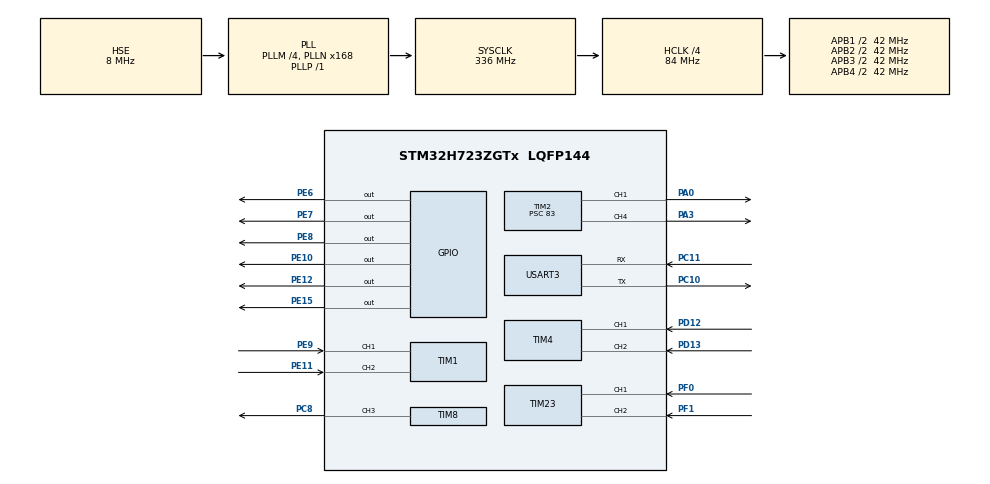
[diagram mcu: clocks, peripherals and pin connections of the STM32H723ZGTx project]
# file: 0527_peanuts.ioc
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Dma.Request0=USART3_RX
Dma.Request1=USART3_TX
Dma.USART3_RX.0.Direction=DMA_PERIPH_TO_MEMORY
Dma.USART3_RX.0.EventEnable=DISABLE
Dma.USART3_RX.0.FIFOMode=DMA_FIFOMODE_DISABLE
Dma.USART3_RX.0.Instance=DMA1_Stream0
Dma.USART3_RX.0.MemDataAlignment=DMA_MDATAALIGN_BYTE
Dma.USART3_RX.0.MemInc=DMA_MINC_ENABLE
Dma.USART3_RX.0.Mode=DMA_NORMAL
Dma.USART3_RX.0.PeriphDataAlignment=DMA_PDATAALIGN_BYTE
Dma.USART3_RX.0.PeriphInc=DMA_PINC_DISABLE
Dma.USART3_RX.0.Polarity=HAL_DMAMUX_REQ_GEN_RISING
Dma.USART3_RX.0.Priority=DMA_PRIORITY_HIGH
Dma.USART3_RX.0.RequestNumber=1
Dma.USART3_RX.0.SignalID=NONE
Dma.USART3_RX.0.SyncEnable=DISABLE
Dma.USART3_RX.0.SyncPolarity=HAL_DMAMUX_SYNC_NO_EVENT
Dma.USART3_RX.0.SyncRequestNumber=1
Dma.USART3_RX.0.SyncSignalID=NONE
Dma.USART3_TX.1.Direction=DMA_MEMORY_TO_PERIPH
Dma.USART3_TX.1.EventEnable=DISABLE
Dma.USART3_TX.1.FIFOMode=DMA_FIFOMODE_DISABLE
Dma.USART3_TX.1.Instance=DMA1_Stream1
Dma.USART3_TX.1.MemDataAlignment=DMA_MDATAALIGN_BYTE
Dma.USART3_TX.1.MemInc=DMA_MINC_ENABLE
Dma.USART3_TX.1.Mode=DMA_NORMAL
Dma.USART3_TX.1.PeriphDataAlignment=DMA_PDATAALIGN_BYTE
Dma.USART3_TX.1.PeriphInc=DMA_PINC_DISABLE
Dma.USART3_TX.1.Polarity=HAL_DMAMUX_REQ_GEN_RISING
Dma.USART3_TX.1.Priority=DMA_PRIORITY_HIGH
Dma.USART3_TX.1.RequestNumber=1
Dma.USART3_TX.1.SignalID=NONE
Dma.USART3_TX.1.SyncEnable=DISABLE
Dma.USART3_TX.1.SyncPolarity=HAL_DMAMUX_SYNC_NO_EVENT
Dma.USART3_TX.1.SyncRequestNumber=1
Dma.USART3_TX.1.SyncSignalID=NONE
Mcu.Family=STM32H7
Mcu.Name=STM32H723ZGTx
Mcu.Package=LQFP144
NVIC.DMA1_Stream0_IRQn=true\:0\:0\:false\:false\:true\:false\:true\:true
NVIC.DMA1_Stream1_IRQn=true\:0\:0\:false\:false\:true\:false\:true\:true
NVIC.PriorityGroup=NVIC_PRIORITYGROUP_4
NVIC.RCC_IRQn=true\:0\:0\:false\:false\:true\:true\:false\:true
NVIC.TIM3_IRQn=true\:0\:0\:false\:false\:true\:true\:true\:true
NVIC.TIM5_IRQn=true\:0\:0\:false\:false\:true\:true\:true\:true
NVIC.USART3_IRQn=true\:0\:0\:false\:false\:true\:true\:true\:true
PA0.Signal=S_TIM2_CH1_ETR
PA3.Signal=S_TIM2_CH4
PC10.Mode=Asynchronous
PC10.Signal=USART3_TX
PC11.Mode=Asynchronous
PC11.Signal=USART3_RX
PC14-OSC32_IN.Mode=LSE-External-Clock-Source
PC14-OSC32_IN.Signal=RCC_OSC32_IN
PC8.Signal=S_TIM8_CH3
PD12.Signal=S_TIM4_CH1
PD13.Signal=S_TIM4_CH2
PE10.Signal=GPIO_Output
PE11.Signal=S_TIM1_CH2
PE12.Signal=GPIO_Output
PE15.Signal=GPIO_Output
PE6.Signal=GPIO_Output
PE7.Signal=GPIO_Output
PE8.Signal=GPIO_Output
PE9.Signal=S_TIM1_CH1
PF0.Mode=Encoder_Interface
PF0.Signal=TIM23_CH1
PF1.Signal=S_TIM23_CH2
PH0-OSC_IN.Mode=HSE-External-Clock-Source
PH0-OSC_IN.Signal=RCC_OSC_IN
ProjectManager.HeapSize=0x200
ProjectManager.StackSize=0x400
ProjectManager.TargetToolchain=STM32CubeIDE
RCC.ADCFreq_Value=16125000
RCC.APB1Freq_Value=42000000
RCC.APB2Freq_Value=42000000
RCC.APB3Freq_Value=42000000
RCC.APB4Freq_Value=42000000
RCC.CortexFreq_Value=168000000
RCC.D1CPRE=RCC_SYSCLK_DIV2
RCC.D1PPRE=RCC_APB3_DIV2
RCC.D2PPRE1=RCC_APB1_DIV2
RCC.D2PPRE2=RCC_APB2_DIV2
RCC.D3PPRE=RCC_APB4_DIV2
RCC.DIVM1=4
RCC.DIVN1=168
RCC.DIVP1=1
RCC.HCLKFreq_Value=84000000
RCC.HPRE=RCC_HCLK_DIV2
RCC.HSE_VALUE=8000000
RCC.PLL2FRACN=0
RCC.PLL3FRACN=0
RCC.PLLFRACN=0
RCC.PLLSourceVirtual=RCC_PLLSOURCE_HSE
RCC.SYSCLKFreq_VALUE=336000000
RCC.SYSCLKSource=RCC_SYSCLKSOURCE_PLLCLK
RCC.USBFreq_Value=168000000
SH.S_TIM1_CH1.0=TIM1_CH1,Encoder_Interface
SH.S_TIM1_CH2.0=TIM1_CH2,Encoder_Interface
SH.S_TIM23_CH2.0=TIM23_CH2,Encoder_Interface
SH.S_TIM2_CH1_ETR.0=TIM2_CH1,PWM Generation1 CH1
SH.S_TIM2_CH4.0=TIM2_CH4,PWM Generation4 CH4
SH.S_TIM4_CH1.0=TIM4_CH1,Encoder_Interface
SH.S_TIM4_CH2.0=TIM4_CH2,Encoder_Interface
SH.S_TIM8_CH3.0=TIM8_CH3,PWM Generation3 CH3
TIM1.EncoderMode=TIM_ENCODERMODE_TI12
TIM2.Channel-PWM\ Generation1\ CH1=TIM_CHANNEL_1
TIM2.Channel-PWM\ Generation4\ CH4=TIM_CHANNEL_4
TIM2.Period=49
TIM2.Prescaler=83
TIM23.EncoderMode=TIM_ENCODERMODE_TI12
TIM3.Period=99
TIM3.Prescaler=839
TIM4.EncoderMode=TIM_ENCODERMODE_TI12
TIM5.Period=9999
TIM5.Prescaler=83
TIM8.Channel-PWM\ Generation3\ CH3=TIM_CHANNEL_3
TIM8.Period=49
TIM8.Prescaler=83
USART3.VirtualMode-Asynchronous=VM_ASYNC
VP_TIM3_VS_ClockSourceINT.Mode=Internal
VP_TIM5_VS_ClockSourceINT.Mode=Internal
board=custom

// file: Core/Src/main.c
/* USER CODE BEGIN Header */
/**
  ******************************************************************************
  * @file           : main.c
  * @brief          : Main program body
  ******************************************************************************
  * @attention
  *
  * Copyright (c) 2023 STMicroelectronics.
  * All rights reserved.
  *
  * This software is licensed under terms that can be found in the LICENSE file
  * in the root directory of this software component.
  * If no LICENSE file comes with this software, it is provided AS-IS.
  *
  ******************************************************************************
  */
/* USER CODE END Header */
#include "main.h"

/* USER CODE BEGIN Includes */
#include <mainpp.h>
#include <stdio.h>
#include <stdlib.h>
#include <math.h>
/* USER CODE END Includes */

/* USER CODE BEGIN PD */
//motor datasheet
#define resolution_MF 506
#define reductionratio_MF 13.2
#define resolution_ML 518
#define reductionratio_ML 13.2
#define resolution_MR 512
#define reductionratio_MR 20.8

//motor control
#define TIM_ENC_MF &htim1
#define TIM_ENC_ML &htim4
#define TIM_ENC_MR &htim23
#define TIM_PWM_MF &htim2
#define TIM_PWM_ML &htim2
#define TIM_PWM_MR &htim8
#define CH_PWM_MF TIM_CHANNEL_1
#define CH_PWM_ML TIM_CHANNEL_4
#define CH_PWM_MR TIM_CHANNEL_3
#define motor_span 0.001

//pin names
#define INA_MR_PORT GPIOE
#define INA_MR_PIN GPIO_PIN_8
#define INB_MR_PORT GPIOE
#define INB_MR_PIN GPIO_PIN_7
#define INA_ML_PORT GPIOE
#define INA_ML_PIN GPIO_PIN_10
#define INB_ML_PORT GPIOE
#define INB_ML_PIN GPIO_PIN_12
#define INA_MF_PORT GPIOE
#define INA_MF_PIN GPIO_PIN_6
#define INB_MF_PORT GPIOE
#define INB_MF_PIN GPIO_PIN_15

//motor PWM output
#define motorARR 49 //ARR of TIM2

//dynamics
#define pi 3.14159265359
#define degree60 pi/3
#define degree30 pi/6

#define ratio_motor2wheel 0.5 //motor 1 revolution wheel 32/20 revolution -> 20/40
#define LF 0.1
#define LR 0.1
#define LL 0.1
#define L 0.1
#define wheel_radius 0.03
/* USER CODE END PD */

TIM_HandleTypeDef htim1;
TIM_HandleTypeDef htim2;
TIM_HandleTypeDef htim3;
TIM_HandleTypeDef htim4;
TIM_HandleTypeDef htim5;
TIM_HandleTypeDef htim8;
TIM_HandleTypeDef htim23;

UART_HandleTypeDef huart3;
DMA_HandleTypeDef hdma_usart3_rx;
DMA_HandleTypeDef hdma_usart3_tx;

/* USER CODE BEGIN PV */
//alpha!!
double A=0, rA=0, Am, Wm;

//command speed (robot coordinate System)
//double Vx=0, Vy=0, W=0;
//command speed (motor)
double MF = 0, MR = 0, ML = 0;

//real speed (robot coordinate System)
//double rVx, rVy, rW;
//real speed (motor)
int16_t enc_MF, enc_MR, enc_ML;
double rMF, rMR, rML;

//PID_PWM
double err_MF, inte_MF = 0, PID_MF = 0;
double err_MR, inte_MR = 0, PID_MR = 0;
double err_ML, inte_ML = 0, PID_ML = 0;

const float kp_MR = 0.63478, ki_MR = 42.3571, kd_MR = 0;
const float kp_MF = 0.62054, ki_MF = 48.2085, kd_MF = 0;
const float kp_ML = 0.68042, ki_ML = 54.7149, kd_ML = 0;

//double cmnMF = 1;//.015;
//double cmnML = 1;//.015;
//double cmnMR = 1.007;
double cmnspeed = 1;

double Vx_cmd=0;
double Vy_cmd=0;
double W_cmd=0;
double ML_cmd=0;
double MR_cmd=0;
double MF_cmd=0;
int run = 0;
int straight_test_cnt = 0;

//double inte_w = 0;

/* USER CODE END PV */

void SystemClock_Config(void);
static void MX_GPIO_Init(void);
static void MX_DMA_Init(void);
static void MX_TIM3_Init(void);
static void MX_TIM4_Init(void);
static void MX_TIM8_Init(void);
static void MX_TIM23_Init(void);
static void MX_TIM1_Init(void);
static void MX_USART3_UART_Init(void);
static void MX_TIM2_Init(void);
static void MX_TIM5_Init(void);

int main(void)
{

  /* MCU Configuration--------------------------------------------------------*/

  /* Reset of all peripherals, Initializes the Flash interface and the Systick. */
  HAL_Init();

  /* Configure the system clock */
  SystemClock_Config();

  /* Initialize all configured peripherals */
  MX_GPIO_Init();
  MX_DMA_Init();
  MX_TIM3_Init();
  MX_TIM4_Init();
  MX_TIM8_Init();
  MX_TIM23_Init();
  MX_TIM1_Init();
  MX_USART3_UART_Init();
  MX_TIM2_Init();
  MX_TIM5_Init();
  /* USER CODE BEGIN 2 */
  HAL_TIM_Base_Start_IT(&htim3);
  HAL_TIM_Base_Start_IT(&htim5);
  HAL_TIM_Encoder_Start(TIM_ENC_MF, TIM_CHANNEL_1);
  HAL_TIM_Encoder_Start(TIM_ENC_MF, TIM_CHANNEL_2);
    HAL_TIM_Encoder_Start(TIM_ENC_ML, TIM_CHANNEL_1);
    HAL_TIM_Encoder_Start(TIM_ENC_ML, TIM_CHANNEL_2);
    HAL_TIM_Encoder_Start(TIM_ENC_MR, TIM_CHANNEL_1);
    HAL_TIM_Encoder_Start(TIM_ENC_MR, TIM_CHANNEL_2);
    HAL_TIM_PWM_Start(TIM_PWM_MF, CH_PWM_MF);
    HAL_TIM_PWM_Start(TIM_PWM_ML, CH_PWM_ML);
    HAL_TIM_PWM_Start(TIM_PWM_MR, CH_PWM_MR);
  	setup();
  	adjVx = 1.885714;
  	adjVy = 0.9637056234718826;
  	adjW = 3.922374063966527;
  	cmnMF = 1;
  	cmnML = 1;
  	cmnMR = 1.003;
  	//test rotate
//  	run = 1;
//  	straight_test_cnt = 20010;
//  	W_cmd = 0.628318530717958647692;
//  	inte_w = 0;
  /* USER CODE END 2 */

  /* Infinite loop */
  while (1)
  {

    /* USER CODE BEGIN 3 */
	  loop();
  }
  /* USER CODE END 3 */
}

void SystemClock_Config(void)
{
  RCC_OscInitTypeDef RCC_OscInitStruct = {0};
  RCC_ClkInitTypeDef RCC_ClkInitStruct = {0};

  /** Supply configuration update enable
  */
  HAL_PWREx_ConfigSupply(PWR_LDO_SUPPLY);

  /** Configure the main internal regulator output voltage
  */
  __HAL_PWR_VOLTAGESCALING_CONFIG(PWR_REGULATOR_VOLTAGE_SCALE3);

  while(!__HAL_PWR_GET_FLAG(PWR_FLAG_VOSRDY)) {}

  /** Initializes the RCC Oscillators according to the specified parameters
  * in the RCC_OscInitTypeDef structure.
  */
  RCC_OscInitStruct.OscillatorType = RCC_OSCILLATORTYPE_HSE;
  RCC_OscInitStruct.HSEState = RCC_HSE_BYPASS;
  RCC_OscInitStruct.PLL.PLLState = RCC_PLL_ON;
  RCC_OscInitStruct.PLL.PLLSource = RCC_PLLSOURCE_HSE;
  RCC_OscInitStruct.PLL.PLLM = 4;
  RCC_OscInitStruct.PLL.PLLN = 168;
  RCC_OscInitStruct.PLL.PLLP = 1;
  RCC_OscInitStruct.PLL.PLLQ = 2;
  RCC_OscInitStruct.PLL.PLLR = 2;
  RCC_OscInitStruct.PLL.PLLRGE = RCC_PLL1VCIRANGE_1;
  RCC_OscInitStruct.PLL.PLLVCOSEL = RCC_PLL1VCOWIDE;
  RCC_OscInitStruct.PLL.PLLFRACN = 0;
  if (HAL_RCC_OscConfig(&RCC_OscInitStruct) != HAL_OK)
  {
    Error_Handler();
  }

  /** Initializes the CPU, AHB and APB buses clocks
  */
  RCC_ClkInitStruct.ClockType = RCC_CLOCKTYPE_HCLK|RCC_CLOCKTYPE_SYSCLK
                              |RCC_CLOCKTYPE_PCLK1|RCC_CLOCKTYPE_PCLK2
                              |RCC_CLOCKTYPE_D3PCLK1|RCC_CLOCKTYPE_D1PCLK1;
  RCC_ClkInitStruct.SYSCLKSource = RCC_SYSCLKSOURCE_PLLCLK;
  RCC_ClkInitStruct.SYSCLKDivider = RCC_SYSCLK_DIV2;
  RCC_ClkInitStruct.AHBCLKDivider = RCC_HCLK_DIV2;
  RCC_ClkInitStruct.APB3CLKDivider = RCC_APB3_DIV2;
  RCC_ClkInitStruct.APB1CLKDivider = RCC_APB1_DIV2;
  RCC_ClkInitStruct.APB2CLKDivider = RCC_APB2_DIV2;
  RCC_ClkInitStruct.APB4CLKDivider = RCC_APB4_DIV2;

  if (HAL_RCC_ClockConfig(&RCC_ClkInitStruct, FLASH_LATENCY_2) != HAL_OK)
  {
    Error_Handler();
  }
}

static void MX_TIM1_Init(void)
{

  TIM_Encoder_InitTypeDef sConfig = {0};
  TIM_MasterConfigTypeDef sMasterConfig = {0};

  htim1.Instance = TIM1;
  htim1.Init.Prescaler = 0;
  htim1.Init.CounterMode = TIM_COUNTERMODE_UP;
  htim1.Init.Period = 65535;
  htim1.Init.ClockDivision = TIM_CLOCKDIVISION_DIV1;
  htim1.Init.RepetitionCounter = 0;
  htim1.Init.AutoReloadPreload = TIM_AUTORELOAD_PRELOAD_DISABLE;
  sConfig.EncoderMode = TIM_ENCODERMODE_TI12;
  sConfig.IC1Polarity = TIM_ICPOLARITY_RISING;
  sConfig.IC1Selection = TIM_ICSELECTION_DIRECTTI;
  sConfig.IC1Prescaler = TIM_ICPSC_DIV1;
  sConfig.IC1Filter = 0;
  sConfig.IC2Polarity = TIM_ICPOLARITY_RISING;
  sConfig.IC2Selection = TIM_ICSELECTION_DIRECTTI;
  sConfig.IC2Prescaler = TIM_ICPSC_DIV1;
  sConfig.IC2Filter = 0;
  if (HAL_TIM_Encoder_Init(&htim1, &sConfig) != HAL_OK)
  {
    Error_Handler();
  }
  sMasterConfig.MasterOutputTrigger = TIM_TRGO_RESET;
  sMasterConfig.MasterOutputTrigger2 = TIM_TRGO2_RESET;
  sMasterConfig.MasterSlaveMode = TIM_MASTERSLAVEMODE_DISABLE;
  if (HAL_TIMEx_MasterConfigSynchronization(&htim1, &sMasterConfig) != HAL_OK)
  {
    Error_Handler();
  }

}

static void MX_TIM2_Init(void)
{

  TIM_MasterConfigTypeDef sMasterConfig = {0};
  TIM_OC_InitTypeDef sConfigOC = {0};

  htim2.Instance = TIM2;
  htim2.Init.Prescaler = 83;
  htim2.Init.CounterMode = TIM_COUNTERMODE_UP;
  htim2.Init.Period = 49;
  htim2.Init.ClockDivision = TIM_CLOCKDIVISION_DIV1;
  htim2.Init.AutoReloadPreload = TIM_AUTORELOAD_PRELOAD_DISABLE;
  if (HAL_TIM_PWM_Init(&htim2) != HAL_OK)
  {
    Error_Handler();
  }
  sMasterConfig.MasterOutputTrigger = TIM_TRGO_RESET;
  sMasterConfig.MasterSlaveMode = TIM_MASTERSLAVEMODE_DISABLE;
  if (HAL_TIMEx_MasterConfigSynchronization(&htim2, &sMasterConfig) != HAL_OK)
  {
    Error_Handler();
  }
  sConfigOC.OCMode = TIM_OCMODE_PWM1;
  sConfigOC.Pulse = 0;
  sConfigOC.OCPolarity = TIM_OCPOLARITY_HIGH;
  sConfigOC.OCFastMode = TIM_OCFAST_DISABLE;
  if (HAL_TIM_PWM_ConfigChannel(&htim2, &sConfigOC, TIM_CHANNEL_1) != HAL_OK)
  {
    Error_Handler();
  }
  if (HAL_TIM_PWM_ConfigChannel(&htim2, &sConfigOC, TIM_CHANNEL_4) != HAL_OK)
  {
    Error_Handler();
  }
  HAL_TIM_MspPostInit(&htim2);

}

static void MX_TIM3_Init(void)
{

  TIM_ClockConfigTypeDef sClockSourceConfig = {0};
  TIM_MasterConfigTypeDef sMasterConfig = {0};

  htim3.Instance = TIM3;
  htim3.Init.Prescaler = 839;
  htim3.Init.CounterMode = TIM_COUNTERMODE_UP;
  htim3.Init.Period = 99;
  htim3.Init.ClockDivision = TIM_CLOCKDIVISION_DIV1;
  htim3.Init.AutoReloadPreload = TIM_AUTORELOAD_PRELOAD_DISABLE;
  if (HAL_TIM_Base_Init(&htim3) != HAL_OK)
  {
    Error_Handler();
  }
  sClockSourceConfig.ClockSource = TIM_CLOCKSOURCE_INTERNAL;
  if (HAL_TIM_ConfigClockSource(&htim3, &sClockSourceConfig) != HAL_OK)
  {
    Error_Handler();
  }
  sMasterConfig.MasterOutputTrigger = TIM_TRGO_RESET;
  sMasterConfig.MasterSlaveMode = TIM_MASTERSLAVEMODE_DISABLE;
  if (HAL_TIMEx_MasterConfigSynchronization(&htim3, &sMasterConfig) != HAL_OK)
  {
    Error_Handler();
  }

}

static void MX_TIM4_Init(void)
{

  TIM_Encoder_InitTypeDef sConfig = {0};
  TIM_MasterConfigTypeDef sMasterConfig = {0};

  htim4.Instance = TIM4;
  htim4.Init.Prescaler = 0;
  htim4.Init.CounterMode = TIM_COUNTERMODE_UP;
  htim4.Init.Period = 65535;
  htim4.Init.ClockDivision = TIM_CLOCKDIVISION_DIV1;
  htim4.Init.AutoReloadPreload = TIM_AUTORELOAD_PRELOAD_DISABLE;
  sConfig.EncoderMode = TIM_ENCODERMODE_TI12;
  sConfig.IC1Polarity = TIM_ICPOLARITY_RISING;
  sConfig.IC1Selection = TIM_ICSELECTION_DIRECTTI;
  sConfig.IC1Prescaler = TIM_ICPSC_DIV1;
  sConfig.IC1Filter = 0;
  sConfig.IC2Polarity = TIM_ICPOLARITY_RISING;
  sConfig.IC2Selection = TIM_ICSELECTION_DIRECTTI;
  sConfig.IC2Prescaler = TIM_ICPSC_DIV1;
  sConfig.IC2Filter = 0;
  if (HAL_TIM_Encoder_Init(&htim4, &sConfig) != HAL_OK)
  {
    Error_Handler();
  }
  sMasterConfig.MasterOutputTrigger = TIM_TRGO_RESET;
  sMasterConfig.MasterSlaveMode = TIM_MASTERSLAVEMODE_DISABLE;
  if (HAL_TIMEx_MasterConfigSynchronization(&htim4, &sMasterConfig) != HAL_OK)
  {
    Error_Handler();
  }

}

static void MX_TIM5_Init(void)
{

  TIM_ClockConfigTypeDef sClockSourceConfig = {0};
  TIM_MasterConfigTypeDef sMasterConfig = {0};

  htim5.Instance = TIM5;
  htim5.Init.Prescaler = 83;
  htim5.Init.CounterMode = TIM_COUNTERMODE_UP;
  htim5.Init.Period = 9999;
  htim5.Init.ClockDivision = TIM_CLOCKDIVISION_DIV1;
  htim5.Init.AutoReloadPreload = TIM_AUTORELOAD_PRELOAD_DISABLE;
  if (HAL_TIM_Base_Init(&htim5) != HAL_OK)
  {
    Error_Handler();
  }
  sClockSourceConfig.ClockSource = TIM_CLOCKSOURCE_INTERNAL;
  if (HAL_TIM_ConfigClockSource(&htim5, &sClockSourceConfig) != HAL_OK)
  {
    Error_Handler();
  }
  sMasterConfig.MasterOutputTrigger = TIM_TRGO_RESET;
  sMasterConfig.MasterSlaveMode = TIM_MASTERSLAVEMODE_DISABLE;
  if (HAL_TIMEx_MasterConfigSynchronization(&htim5, &sMasterConfig) != HAL_OK)
  {
    Error_Handler();
  }

}

static void MX_TIM8_Init(void)
{

  TIM_MasterConfigTypeDef sMasterConfig = {0};
  TIM_OC_InitTypeDef sConfigOC = {0};
  TIM_BreakDeadTimeConfigTypeDef sBreakDeadTimeConfig = {0};

  htim8.Instance = TIM8;
  htim8.Init.Prescaler = 83;
  htim8.Init.CounterMode = TIM_COUNTERMODE_UP;
  htim8.Init.Period = 49;
  htim8.Init.ClockDivision = TIM_CLOCKDIVISION_DIV1;
  htim8.Init.RepetitionCounter = 0;
  htim8.Init.AutoReloadPreload = TIM_AUTORELOAD_PRELOAD_DISABLE;
  if (HAL_TIM_PWM_Init(&htim8) != HAL_OK)
  {
    Error_Handler();
  }
  sMasterConfig.MasterOutputTrigger = TIM_TRGO_RESET;
  sMasterConfig.MasterOutputTrigger2 = TIM_TRGO2_RESET;
  sMasterConfig.MasterSlaveMode = TIM_MASTERSLAVEMODE_DISABLE;
  if (HAL_TIMEx_MasterConfigSynchronization(&htim8, &sMasterConfig) != HAL_OK)
  {
    Error_Handler();
  }
  sConfigOC.OCMode = TIM_OCMODE_PWM1;
  sConfigOC.Pulse = 0;
  sConfigOC.OCPolarity = TIM_OCPOLARITY_HIGH;
  sConfigOC.OCNPolarity = TIM_OCNPOLARITY_HIGH;
  sConfigOC.OCFastMode = TIM_OCFAST_DISABLE;
  sConfigOC.OCIdleState = TIM_OCIDLESTATE_RESET;
  sConfigOC.OCNIdleState = TIM_OCNIDLESTATE_RESET;
  if (HAL_TIM_PWM_ConfigChannel(&htim8, &sConfigOC, TIM_CHANNEL_3) != HAL_OK)
  {
    Error_Handler();
  }
  sBreakDeadTimeConfig.OffStateRunMode = TIM_OSSR_DISABLE;
  sBreakDeadTimeConfig.OffStateIDLEMode = TIM_OSSI_DISABLE;
  sBreakDeadTimeConfig.LockLevel = TIM_LOCKLEVEL_OFF;
  sBreakDeadTimeConfig.DeadTime = 0;
  sBreakDeadTimeConfig.BreakState = TIM_BREAK_DISABLE;
  sBreakDeadTimeConfig.BreakPolarity = TIM_BREAKPOLARITY_HIGH;
  sBreakDeadTimeConfig.BreakFilter = 0;
  sBreakDeadTimeConfig.Break2State = TIM_BREAK2_DISABLE;
  sBreakDeadTimeConfig.Break2Polarity = TIM_BREAK2POLARITY_HIGH;
  sBreakDeadTimeConfig.Break2Filter = 0;
  sBreakDeadTimeConfig.AutomaticOutput = TIM_AUTOMATICOUTPUT_DISABLE;
  if (HAL_TIMEx_ConfigBreakDeadTime(&htim8, &sBreakDeadTimeConfig) != HAL_OK)
  {
    Error_Handler();
  }
  HAL_TIM_MspPostInit(&htim8);

}

static void MX_TIM23_Init(void)
{

  TIM_Encoder_InitTypeDef sConfig = {0};
  TIM_MasterConfigTypeDef sMasterConfig = {0};

  htim23.Instance = TIM23;
  htim23.Init.Prescaler = 0;
  htim23.Init.CounterMode = TIM_COUNTERMODE_UP;
  htim23.Init.Period = 4294967295;
  htim23.Init.ClockDivision = TIM_CLOCKDIVISION_DIV1;
  htim23.Init.AutoReloadPreload = TIM_AUTORELOAD_PRELOAD_DISABLE;
  sConfig.EncoderMode = TIM_ENCODERMODE_TI12;
  sConfig.IC1Polarity = TIM_ICPOLARITY_RISING;
  sConfig.IC1Selection = TIM_ICSELECTION_DIRECTTI;
  sConfig.IC1Prescaler = TIM_ICPSC_DIV1;
  sConfig.IC1Filter = 0;
  sConfig.IC2Polarity = TIM_ICPOLARITY_RISING;
  sConfig.IC2Selection = TIM_ICSELECTION_DIRECTTI;
  sConfig.IC2Prescaler = TIM_ICPSC_DIV1;
  sConfig.IC2Filter = 0;
  if (HAL_TIM_Encoder_Init(&htim23, &sConfig) != HAL_OK)
  {
    Error_Handler();
  }
  sMasterConfig.MasterOutputTrigger = TIM_TRGO_RESET;
  sMasterConfig.MasterSlaveMode = TIM_MASTERSLAVEMODE_DISABLE;
  if (HAL_TIMEx_MasterConfigSynchronization(&htim23, &sMasterConfig) != HAL_OK)
  {
    Error_Handler();
  }

}

static void MX_USART3_UART_Init(void)
{

  huart3.Instance = USART3;
  huart3.Init.BaudRate = 115200;
  huart3.Init.WordLength = UART_WORDLENGTH_8B;
  huart3.Init.StopBits = UART_STOPBITS_1;
  huart3.Init.Parity = UART_PARITY_NONE;
  huart3.Init.Mode = UART_MODE_TX_RX;
  huart3.Init.HwFlowCtl = UART_HWCONTROL_NONE;
  huart3.Init.OverSampling = UART_OVERSAMPLING_16;
  huart3.Init.OneBitSampling = UART_ONE_BIT_SAMPLE_DISABLE;
  huart3.Init.ClockPrescaler = UART_PRESCALER_DIV1;
  huart3.AdvancedInit.AdvFeatureInit = UART_ADVFEATURE_NO_INIT;
  if (HAL_UART_Init(&huart3) != HAL_OK)
  {
    Error_Handler();
  }
  if (HAL_UARTEx_SetTxFifoThreshold(&huart3, UART_TXFIFO_THRESHOLD_1_8) != HAL_OK)
  {
    Error_Handler();
  }
  if (HAL_UARTEx_SetRxFifoThreshold(&huart3, UART_RXFIFO_THRESHOLD_1_8) != HAL_OK)
  {
    Error_Handler();
  }
  if (HAL_UARTEx_DisableFifoMode(&huart3) != HAL_OK)
  {
    Error_Handler();
  }

}

static void MX_DMA_Init(void)
{

  /* DMA controller clock enable */
  __HAL_RCC_DMA1_CLK_ENABLE();

  /* DMA interrupt init */
  /* DMA1_Stream0_IRQn interrupt configuration */
  HAL_NVIC_SetPriority(DMA1_Stream0_IRQn, 0, 0);
  HAL_NVIC_EnableIRQ(DMA1_Stream0_IRQn);
  /* DMA1_Stream1_IRQn interrupt configuration */
  HAL_NVIC_SetPriority(DMA1_Stream1_IRQn, 0, 0);
  HAL_NVIC_EnableIRQ(DMA1_Stream1_IRQn);

}

static void MX_GPIO_Init(void)
{
  GPIO_InitTypeDef GPIO_InitStruct = {0};

  /* GPIO Ports Clock Enable */
  __HAL_RCC_GPIOE_CLK_ENABLE();
  __HAL_RCC_GPIOC_CLK_ENABLE();
  __HAL_RCC_GPIOF_CLK_ENABLE();
  __HAL_RCC_GPIOH_CLK_ENABLE();
  __HAL_RCC_GPIOA_CLK_ENABLE();
  __HAL_RCC_GPIOD_CLK_ENABLE();

  /*Configure GPIO pin Output Level */
  HAL_GPIO_WritePin(GPIOE, GPIO_PIN_6|GPIO_PIN_7|GPIO_PIN_8|GPIO_PIN_10
                          |GPIO_PIN_12|GPIO_PIN_15, GPIO_PIN_RESET);

  /*Configure GPIO pins : PE6 PE7 PE8 PE10
                           PE12 PE15 */
  GPIO_InitStruct.Pin = GPIO_PIN_6|GPIO_PIN_7|GPIO_PIN_8|GPIO_PIN_10
                          |GPIO_PIN_12|GPIO_PIN_15;
  GPIO_InitStruct.Mode = GPIO_MODE_OUTPUT_PP;
  GPIO_InitStruct.Pull = GPIO_NOPULL;
  GPIO_InitStruct.Speed = GPIO_SPEED_FREQ_LOW;
  HAL_GPIO_Init(GPIOE, &GPIO_InitStruct);

}

/* USER CODE BEGIN 4 */
void inverse_kinematics_model();
void Encoder();
void PID_PWM();
void kinematics_model();

double WF, WR, WL;
int into_tim3=0;
int into_tim5=0;
int into_PID=0;

void HAL_TIM_PeriodElapsedCallback(TIM_HandleTypeDef *htim){
	if(htim->Instance == TIM3){

		if (straight_test_cnt > 20000 && run == 1) {
			Vx = 0;
			Vy = 0;
			W = 0;
			straight_test_cnt--;
		} else if (straight_test_cnt > 0 && run == 1) {
			Vx = Vx_cmd;
			Vy = Vy_cmd;
			W = W_cmd;
			straight_test_cnt--;
//			inte_w = inte_w + rW*motor_span;
		} else if (straight_test_cnt == 0) {
			Vx = 0;
			Vy = 0;
			W = 0;
			run = 0;
			straight_test_cnt = 10000;
		}

//		if (straight_test_cnt > 0 && run == 1) {
//			Vx = Vx_cmd;
//			Vy = Vy_cmd;
//			W = W_cmd;
//			straight_test_cnt--;
//		} else if (straight_test_cnt == 0) {
//			Vx = 0;
//			Vy = 0;
//			W = 0;
//			run = 0;
//			straight_test_cnt = 10000;
//		}

//		if (straight_test_cnt > 0 && run == 1) {
//			MF = MF_cmd*cmnMF;
//			ML = ML_cmd*cmnML;
//			MR = MR_cmd*cmnMR;
//			straight_test_cnt--;
//		} else if (straight_test_cnt == 0) {
//			ML = 0;
//			MR = 0;
//			MF = 0;
//			run = 0;
//			straight_test_cnt = 10000;
//		}

		inverse_kinematics_model();
		Encoder();
		PID_PWM();
		kinematics_model();
		into_tim3++;
	}
	else if(htim->Instance == TIM5){
		//rVx = 1;
		//rVy = 1;
		//rW = 1;
		realspeed();
		into_tim5++;
	}
}

//double adjVx=2*0.942857, adjVy=1.005, adjW=3.90603808387;
//void inverse_kinematics_model(){
//
////	WF = -0.536*2*Vx -0.046*W;
////	WL = 0.268*2*Vx -0.926*Vy -0.027*W;
////	WR = 0.268*2*Vx +0.926*Vy -0.027*W;
//
//	WF = -0.536*adjVx*Vx -0.027*adjW*W;
//	WL = 0.268*adjVx*Vx -0.926*adjVy*Vy -0.027*adjW*W;
//	WR = 0.268*adjVx*Vx +0.926*adjVy*Vy -0.027*adjW*W;
//
////	WF = (-2*sqrt(3)+4)*Vx + (-2*sqrt(3)*L+3*L)*W;
////	WL = (sqrt(3)-2)*Vx + (sqrt(3)/3)*Vy + (sqrt(3)*L-2*L)*W;
////	WR = (sqrt(3)-2)*Vx + (-sqrt(3)/3)*Vy + (sqrt(3)*L-2*L)*W;
//
////	WF = Vx - LF*W;
////	WR = -cos(degree60)*Vx - sin(degree60)*Vy - LR*W;
////	WL = -sin(degree30)*Vx + cos(degree30)*Vy - LL*W;
//
//	//treatise holonomic three wheels omni
////	WL = (-Vx+sqrt(3)*Vy+LL*W)/3;
////	WR = (-Vx-sqrt(3)*Vy+LR*W)/3;
////	WF = (2*Vx+LF*W)/3;
//	//W等�?��?�調?��? ?��L?
//
////	WF=WF*(-1);
////	WL=WL*(-1);
////	WR=WR*(-1);
//
////	MF = (WF/wheel_radius)/ratio_motor2wheel/(2*pi)*cmnspeed*cmnMF;
////	MR = (WR/wheel_radius)/ratio_motor2wheel/(2*pi)*cmnMR*cmnspeed;
////	ML = (WL/wheel_radius)/ratio_motor2wheel/(2*pi)*cmnML*cmnspeed;
//
////	MF = 0;
////	MR = 0.5;
////	ML = -0.5;
//	}

void inverse_kinematics_model(){

	WR = -0.536*adjVx*Vx -0.027*adjW*W;
	WF = 0.268*adjVx*Vx -0.926*adjVy*Vy -0.027*adjW*W;
	WL = 0.268*adjVx*Vx +0.926*adjVy*Vy -0.027*adjW*W;

	MF = (WF/wheel_radius)/ratio_motor2wheel/(2*pi)*cmnspeed*cmnMF;
	MR = (WR/wheel_radius)/ratio_motor2wheel/(2*pi)*cmnMR*cmnspeed;
	ML = (WL/wheel_radius)/ratio_motor2wheel/(2*pi)*cmnML*cmnspeed;

	}

float inte_rMF = 0;
void Encoder() {
	//front wheel motor
	enc_MF = __HAL_TIM_GetCounter(TIM_ENC_MF);
	rMF = (double) enc_MF / (4 * resolution_MF * reductionratio_MF) / motor_span;//(2*pi);//rev/s = 2Pi/s
	__HAL_TIM_SetCounter(TIM_ENC_MF, 0);

	//right wheel motor
	enc_MR = __HAL_TIM_GetCounter(TIM_ENC_MR);
	rMR = (double) enc_MR / (4 * resolution_MR * reductionratio_MR) / motor_span;//(2*pi);
	__HAL_TIM_SetCounter(TIM_ENC_MR, 0);
	inte_rMF += rMF*motor_span;

	//left wheel motor
	enc_ML = __HAL_TIM_GetCounter(TIM_ENC_ML);
	rML = (-1)*(double) enc_ML / (4 * resolution_ML * reductionratio_ML) / motor_span;//(2*pi);
	__HAL_TIM_SetCounter(TIM_ENC_ML, 0);
}
int pulse_MF;
int pulse_ML;
int pulse_MR;
float u_MF;
void PID_PWM(){

	//PID_MF
	double err_MF = MF - rMF;
	inte_MF += err_MF * motor_span;
	double bound_MF = 1/ki_MF;
	if (ki_MF * inte_MF > 1) inte_MF = bound_MF;
	else if (ki_MF * inte_MF < -1) inte_MF = -bound_MF;
	u_MF = kp_MF * err_MF + ki_MF * inte_MF;
	if (u_MF > 1) u_MF = 1;
	else if (u_MF < -1) u_MF = -1;

	//PWM_MF
	//int pulse_MF;
	if (u_MF > 0) {
		pulse_MF = (int) (u_MF * (motorARR + 1));
		HAL_GPIO_WritePin(INA_MF_PORT, INA_MF_PIN, GPIO_PIN_SET); // INA
		HAL_GPIO_WritePin(INB_MF_PORT, INB_MF_PIN, GPIO_PIN_RESET); // INB
	} else {
		pulse_MF = (int) (-u_MF * (motorARR + 1));
		HAL_GPIO_WritePin(INA_MF_PORT, INA_MF_PIN, GPIO_PIN_RESET); // INA
		HAL_GPIO_WritePin(INB_MF_PORT, INB_MF_PIN, GPIO_PIN_SET); // INB
	}
	__HAL_TIM_SET_COMPARE(TIM_PWM_MF, CH_PWM_MF, pulse_MF); // PWM

	//PID_MR
	double err_MR = MR - rMR;
	inte_MR += err_MR * motor_span;
	double bound_MR = 1/ki_MR;
	if (ki_MR * inte_MR > 1) inte_MR = bound_MR;
	else if (ki_MR * inte_MR < -1) inte_MR = -bound_MR;
	float u_MR = kp_MR * err_MR + ki_MR * inte_MR;
	if (u_MR > 1) u_MR = 1;
	else if (u_MR < -1) u_MR = -1;
	//PWM_MR
	//int pulse_MR;
	if (u_MR > 0) {
		pulse_MR = (int) (u_MR * (motorARR + 1));
		HAL_GPIO_WritePin(INA_MR_PORT, INA_MR_PIN, GPIO_PIN_RESET); // INA
		HAL_GPIO_WritePin(INB_MR_PORT, INB_MR_PIN, GPIO_PIN_SET); // INB
	} else {
		pulse_MR = (int) (-u_MR * (motorARR + 1));
		HAL_GPIO_WritePin(INA_MR_PORT, INA_MR_PIN, GPIO_PIN_SET); // INA
		HAL_GPIO_WritePin(INB_MR_PORT, INB_MR_PIN, GPIO_PIN_RESET); // INB
	}
	__HAL_TIM_SET_COMPARE(TIM_PWM_MR, CH_PWM_MR, pulse_MR); // PWM

	//PID_ML
	double err_ML = ML - rML;
	inte_ML += err_ML * motor_span;
	double bound_ML = 1/ki_ML;
	if (ki_ML * inte_ML > 1) inte_ML = bound_ML;
	else if (ki_ML * inte_ML < -1) inte_ML = -bound_ML;
	float u_ML = kp_ML * err_ML + ki_ML * inte_ML;
	if (u_ML > 1) u_ML = 1;
	else if (u_ML < -1) u_ML = -1;
	//PWM_ML
	//int pulse_ML;
	if (u_ML > 0) {
		pulse_ML = (int) (u_ML * (motorARR + 1));
		HAL_GPIO_WritePin(INA_ML_PORT, INA_ML_PIN, GPIO_PIN_SET); // INA
		HAL_GPIO_WritePin(INB_ML_PORT, INB_ML_PIN, GPIO_PIN_RESET); // INB
	} else {
		pulse_ML = (int) (-u_ML * (motorARR + 1));
		HAL_GPIO_WritePin(INA_ML_PORT, INA_ML_PIN, GPIO_PIN_RESET); // INA
		HAL_GPIO_WritePin(INB_ML_PORT, INB_ML_PIN, GPIO_PIN_SET); // INB
	}
	__HAL_TIM_SET_COMPARE(TIM_PWM_ML, CH_PWM_ML, pulse_ML); // PWM
	into_PID++;

}

void kinematics_model(){
	double rWL = rMF*ratio_motor2wheel*wheel_radius*(2*pi),
		   rWF = rMR*ratio_motor2wheel*wheel_radius*(2*pi),
		   rWR = rML*ratio_motor2wheel*wheel_radius*(2*pi);

	rVx = (-1.244*rWF + 0.622*rWL + 0.622*rWR)/adjVx;
	rVy = (-0.54*rWL + 0.54*rWR)/adjVy;
	rW = (-12.346*rWF -12.346*rWL -12.346*rWR)/adjW;
}

//void kinematics_model(){ //??��?��?�修�?角度?�輪??��??
//	double rWF = rMF*ratio_motor2wheel*wheel_radius*(2*pi), //---------------0618(*-1)
//		   rWR = rMR*ratio_motor2wheel*wheel_radius*(2*pi),
//		   rWL = rML*ratio_motor2wheel*wheel_radius*(2*pi);
//
//	rVx = (-1.244*rWF + 0.622*rWL + 0.622*rWR)/adjVx;
//	rVy = (-0.54*rWL + 0.54*rWR)/adjVy;
//	rW = (-12.346*rWF -12.346*rWL -12.346*rWR)/adjW;
//
////	rVx = -rWF +sqrt(3)/2*rWL +sqrt(3)/2*rWR;
////	rVy=-0.5*rWL+0.5*rWR;
////	rW = -rWF/LF -rWL/LF -rWR/LR;
////
////	rVx = rVx/(2*adjVx);
////	rVy = rVy/(0.926*adjVy);
////	rW = rW/adjW;
//
////	rVx = rWF -sqrt(3)/2*rWL -sqrt(3)/2*rWR;
////	rVy = sqrt(3)/2*rWL - sqrt(3)/2*rWR;
////	rW = -rWF/LF -rWL/LF -rWR/LR;
//
////	rVx = cos(210)*rWL + cos(330)*rWR + cos(90)*rWF;
////	rVy = sin(210)*rWL + sin(330)*rWR + sin(90)*rWF;
////	rW = rWL+rWR+rWF;
//
////	rVx = 1/(LF+LR+LL)*((LR+LL)*rWF - LF*rWR - LF*rWL);
////	rVy = 1/sqrt(3)/(LF+LR+LL)*((LR-LL)*rWF - (LF+2*LL)*rWR + (LF+2*LR)*rWL);
////	rW = -1/(LF+LR+LL)*(rWF + rWR + rWL);
////	rVx = rVx*(-1);
////	rVy = rVy*(-1);
////	rW = rW*(-1);
//
//	/*alpha
//	rVx = cos(A)*rVx - sin(A)*rVy;
//	rVy = sin(A)*rVx + cos(A)*rVy;
//	rA+=rW*motor_span;
//	*/
//}
/* USER CODE END 4 */

void Error_Handler(void)
{
  __disable_irq();
  while (1)
  {
  }
}
